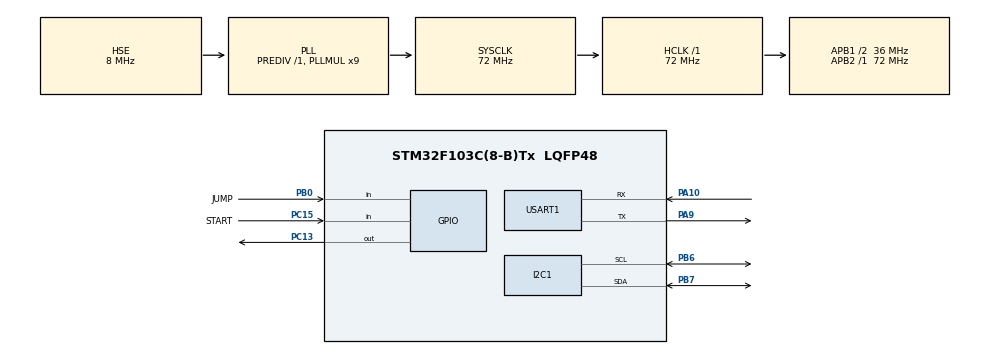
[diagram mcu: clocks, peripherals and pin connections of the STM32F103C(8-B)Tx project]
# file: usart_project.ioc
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Dma.Request0=USART1_RX
Dma.Request1=USART1_TX
Dma.USART1_RX.0.Direction=DMA_PERIPH_TO_MEMORY
Dma.USART1_RX.0.Instance=DMA1_Channel5
Dma.USART1_RX.0.MemDataAlignment=DMA_MDATAALIGN_BYTE
Dma.USART1_RX.0.MemInc=DMA_MINC_ENABLE
Dma.USART1_RX.0.Mode=DMA_NORMAL
Dma.USART1_RX.0.PeriphDataAlignment=DMA_PDATAALIGN_BYTE
Dma.USART1_RX.0.PeriphInc=DMA_PINC_DISABLE
Dma.USART1_RX.0.Priority=DMA_PRIORITY_LOW
Dma.USART1_TX.1.Direction=DMA_MEMORY_TO_PERIPH
Dma.USART1_TX.1.Instance=DMA1_Channel4
Dma.USART1_TX.1.MemDataAlignment=DMA_MDATAALIGN_BYTE
Dma.USART1_TX.1.MemInc=DMA_MINC_ENABLE
Dma.USART1_TX.1.Mode=DMA_NORMAL
Dma.USART1_TX.1.PeriphDataAlignment=DMA_PDATAALIGN_BYTE
Dma.USART1_TX.1.PeriphInc=DMA_PINC_DISABLE
Dma.USART1_TX.1.Priority=DMA_PRIORITY_LOW
FREERTOS.Tasks01=defaultTask,0,128,StartDefaultTask,Default,NULL,Dynamic,NULL,NULL
I2C1.I2C_Mode=I2C_Fast
Mcu.Family=STM32F1
Mcu.Name=STM32F103C(8-B)Tx
Mcu.Package=LQFP48
NVIC.DMA1_Channel4_IRQn=true\:5\:0\:false\:false\:true\:true\:false\:true\:true
NVIC.DMA1_Channel5_IRQn=true\:5\:0\:false\:false\:true\:true\:false\:true\:true
NVIC.PriorityGroup=NVIC_PRIORITYGROUP_4
NVIC.RCC_IRQn=true\:5\:0\:false\:false\:true\:true\:true\:false\:true
NVIC.TIM1_UP_IRQn=true\:14\:0\:true\:false\:true\:false\:false\:true\:true
NVIC.TimeBase=TIM1_UP_IRQn
NVIC.TimeBaseIP=TIM1
NVIC.USART1_IRQn=true\:5\:0\:false\:false\:true\:true\:false\:true\:true
PA10.Mode=Asynchronous
PA10.Signal=USART1_RX
PA13.Mode=Serial_Wire
PA13.Signal=SYS_JTMS-SWDIO
PA14.Mode=Serial_Wire
PA14.Signal=SYS_JTCK-SWCLK
PA9.Mode=Asynchronous
PA9.Signal=USART1_TX
PB0.GPIO_Label=JUMP
PB0.GPIO_PuPd=GPIO_PULLUP
PB0.Signal=GPIO_Input
PB6.Mode=I2C
PB6.Signal=I2C1_SCL
PB7.Mode=I2C
PB7.Signal=I2C1_SDA
PC13-TAMPER-RTC.GPIO_PuPd=GPIO_PULLUP
PC13-TAMPER-RTC.GPIO_Speed=GPIO_SPEED_FREQ_HIGH
PC13-TAMPER-RTC.PinState=GPIO_PIN_SET
PC13-TAMPER-RTC.Signal=GPIO_Output
PC15-OSC32_OUT.GPIO_Label=START
PC15-OSC32_OUT.GPIO_PuPd=GPIO_PULLUP
PC15-OSC32_OUT.Signal=GPIO_Input
PD0-OSC_IN.Mode=HSE-External-Oscillator
PD0-OSC_IN.Signal=RCC_OSC_IN
PD1-OSC_OUT.Mode=HSE-External-Oscillator
PD1-OSC_OUT.Signal=RCC_OSC_OUT
ProjectManager.HeapSize=0x200
ProjectManager.StackSize=0x400
ProjectManager.TargetToolchain=MDK-ARM V5.32
RCC.AHBFreq_Value=72000000
RCC.APB1CLKDivider=RCC_HCLK_DIV2
RCC.APB1Freq_Value=36000000
RCC.APB1TimFreq_Value=72000000
RCC.APB2Freq_Value=72000000
RCC.APB2TimFreq_Value=72000000
RCC.HCLKFreq_Value=72000000
RCC.PLLMUL=RCC_PLL_MUL9
RCC.PLLSourceVirtual=RCC_PLLSOURCE_HSE
RCC.SYSCLKFreq_VALUE=72000000
RCC.SYSCLKSource=RCC_SYSCLKSOURCE_PLLCLK
RCC.USBFreq_Value=72000000
USART1.VirtualMode=VM_ASYNC
VP_FREERTOS_VS_CMSIS_V1.Mode=CMSIS_V1
VP_SYS_VS_tim1.Mode=TIM1
board=custom

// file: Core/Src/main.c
/* USER CODE BEGIN Header */
/**
  ******************************************************************************
  * @file           : main.c
  * @brief          : Main program body
  ******************************************************************************
  * @attention
  *
  * Copyright (c) 2024 STMicroelectronics.
  * All rights reserved.
  *
  * This software is licensed under terms that can be found in the LICENSE file
  * in the root directory of this software component.
  * If no LICENSE file comes with this software, it is provided AS-IS.
  *
  ******************************************************************************
  */
/* USER CODE END Header */
#include "main.h"
#include "cmsis_os.h"
#include "dma.h"
#include "i2c.h"
#include "usart.h"
#include "gpio.h"

/* USER CODE BEGIN Includes */
#include <string.h>
#include <stdio.h>
#include <oled.h>
#define BUFF_SIZE	100

uint8_t rx_buff[BUFF_SIZE];
/* USER CODE END Includes */

void SystemClock_Config(void);
void MX_FREERTOS_Init(void);

int main(void)
{

  /* MCU Configuration--------------------------------------------------------*/

  /* Reset of all peripherals, Initializes the Flash interface and the Systick. */
  HAL_Init();

  /* Configure the system clock */
  SystemClock_Config();

  /* Initialize all configured peripherals */
  MX_GPIO_Init();
  MX_DMA_Init();
  MX_USART1_UART_Init();
  MX_I2C1_Init();
  /* USER CODE BEGIN 2 */

  HAL_UARTEx_ReceiveToIdle_DMA(&huart1, rx_buff, BUFF_SIZE);
  __HAL_DMA_DISABLE_IT(&hdma_usart1_rx, DMA_IT_HT);		   // 手动关闭DMA_IT_HT中断

 	HAL_Delay(200);
	OLED_Init();
	OLED_NewFrame();
	OLED_ShowFrame();
//	OLED_Test();

  /* USER CODE END 2 */

  /* Call init function for freertos objects (in cmsis_os2.c) */
  MX_FREERTOS_Init();

  /* Start scheduler */
  osKernelStart();

  /* We should never get here as control is now taken by the scheduler */

  /* Infinite loop */
  /* USER CODE BEGIN WHILE */
  while (1)
  {
//	  printf("ok\r\n");

    /* USER CODE END WHILE */

  }
}

void SystemClock_Config(void)
{
  RCC_OscInitTypeDef RCC_OscInitStruct = {0};
  RCC_ClkInitTypeDef RCC_ClkInitStruct = {0};

  /** Initializes the RCC Oscillators according to the specified parameters
  * in the RCC_OscInitTypeDef structure.
  */
  RCC_OscInitStruct.OscillatorType = RCC_OSCILLATORTYPE_HSE;
  RCC_OscInitStruct.HSEState = RCC_HSE_ON;
  RCC_OscInitStruct.HSEPredivValue = RCC_HSE_PREDIV_DIV1;
  RCC_OscInitStruct.HSIState = RCC_HSI_ON;
  RCC_OscInitStruct.PLL.PLLState = RCC_PLL_ON;
  RCC_OscInitStruct.PLL.PLLSource = RCC_PLLSOURCE_HSE;
  RCC_OscInitStruct.PLL.PLLMUL = RCC_PLL_MUL9;
  if (HAL_RCC_OscConfig(&RCC_OscInitStruct) != HAL_OK)
  {
    Error_Handler();
  }

  /** Initializes the CPU, AHB and APB buses clocks
  */
  RCC_ClkInitStruct.ClockType = RCC_CLOCKTYPE_HCLK|RCC_CLOCKTYPE_SYSCLK
                              |RCC_CLOCKTYPE_PCLK1|RCC_CLOCKTYPE_PCLK2;
  RCC_ClkInitStruct.SYSCLKSource = RCC_SYSCLKSOURCE_PLLCLK;
  RCC_ClkInitStruct.AHBCLKDivider = RCC_SYSCLK_DIV1;
  RCC_ClkInitStruct.APB1CLKDivider = RCC_HCLK_DIV2;
  RCC_ClkInitStruct.APB2CLKDivider = RCC_HCLK_DIV1;

  if (HAL_RCC_ClockConfig(&RCC_ClkInitStruct, FLASH_LATENCY_2) != HAL_OK)
  {
    Error_Handler();
  }
}

/* USER CODE BEGIN 4 */
void HAL_UARTEx_RxEventCallback(UART_HandleTypeDef * huart, uint16_t Size)
{
    if(huart->Instance == USART1)
    {
        if (Size <= BUFF_SIZE)
        {
            HAL_UARTEx_ReceiveToIdle_DMA(&huart1, rx_buff, BUFF_SIZE); // 接收完毕后重�?
            HAL_UART_Transmit(&huart1, rx_buff, Size, 0xffff);         // 将接收到的数据再发出
            __HAL_DMA_DISABLE_IT(&hdma_usart1_rx, DMA_IT_HT);		   // 手动关闭DMA_IT_HT过半中断
            memset(rx_buff, 0, BUFF_SIZE);							   // 清除接收缓存
        }
        else  // 接收数据长度大于BUFF_SIZE，错误处�?
        {
//            fprintf(stderr, "DMA transmit is overflowed");
//			return -1; //异常�?�?
        }
    }
}

void HAL_UART_ErrorCallback(UART_HandleTypeDef * huart)
{
    if(huart->Instance == USART1)
    {
		HAL_UARTEx_ReceiveToIdle_DMA(&huart1, rx_buff, BUFF_SIZE); // 接收发生错误后重�?
		__HAL_DMA_DISABLE_IT(&hdma_usart1_rx, DMA_IT_HT);		   // 手动关闭DMA_IT_HT中断
		memset(rx_buff, 0, BUFF_SIZE);							   // 清除接收缓存

    }
}

/* USER CODE END 4 */

void HAL_TIM_PeriodElapsedCallback(TIM_HandleTypeDef *htim)
{
  if (htim->Instance == TIM1) {
    HAL_IncTick();
  }
}

void Error_Handler(void)
{
  __disable_irq();
  while (1)
  {
  }
}
